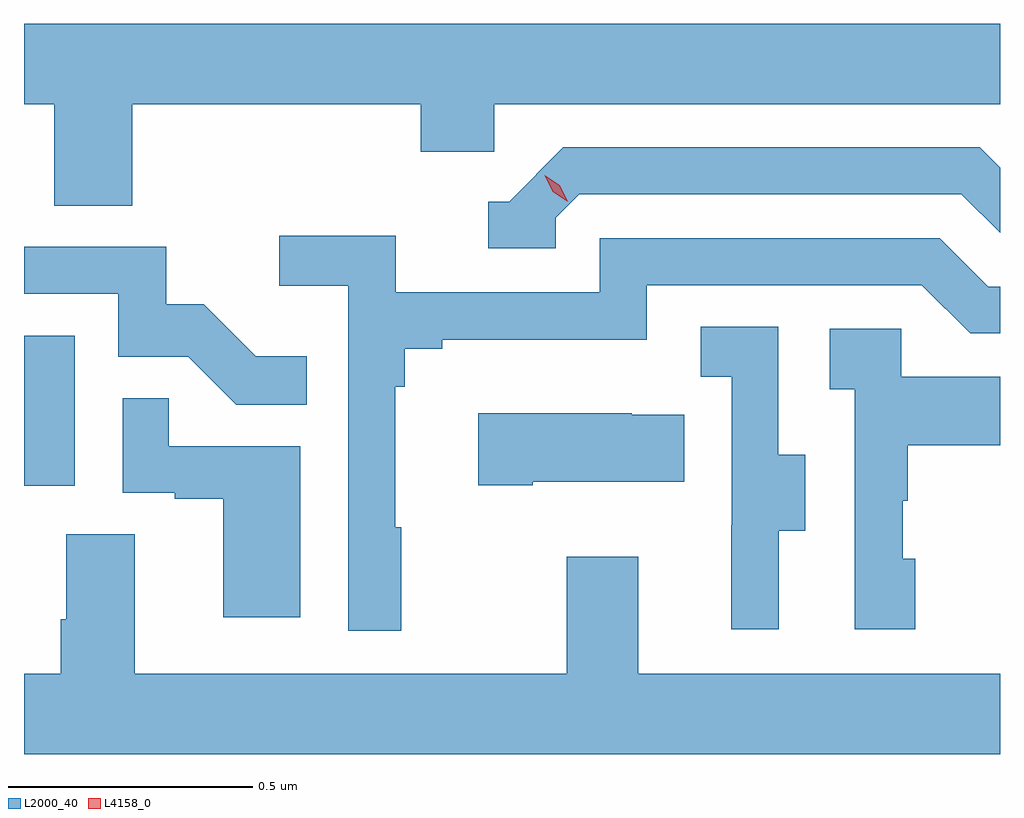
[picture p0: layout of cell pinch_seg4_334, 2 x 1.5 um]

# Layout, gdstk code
import gdstk
lib = gdstk.Library(unit=1e-6, precision=1e-09)
def R(c, l, rs):  # rectangles x0, y0, x1, y1
    for r in rs: c.add(gdstk.rectangle(r[:2], r[2:], *l))
def P(c, l, *ps):  # polygons
    for p in ps: c.add(gdstk.Polygon(p, *l))
L2000_40 = (2000, 40)
L4158_0 = (4158, 0)

pinch_seg4_334 = lib.new_cell('pinch_seg4_334')
R(pinch_seg4_334, L2000_40, [(992.774,806.694,992.878,807.001)])
P(pinch_seg4_334, L2000_40, [(992.996,807.476),(993.587,807.476),(993.587,807.378),(993.738,807.378),(993.738,807.476),(994.774,807.476),(994.774,807.64),(992.774,807.64),(992.774,807.476),(992.836,807.476),(992.836,807.268),(992.996,807.268)],
  [(993.864,807.243),(993.912,807.291),(994.695,807.291),(994.774,807.212),(994.774,807.345),(994.732,807.387),(993.879,807.387),(993.768,807.276),(993.725,807.276),(993.725,807.18),(993.864,807.18)],
  [(993.547,806.609),(993.535,806.609),(993.535,806.897),(993.554,806.897),(993.554,806.974),(993.631,806.974),(993.631,806.993),(994.05,806.993),(994.05,807.105),(994.614,807.105),(994.713,807.006),(994.774,807.006),(994.774,807.102),(994.75,807.102),(994.651,807.201),(993.954,807.201),(993.954,807.09),(993.536,807.09),(993.536,807.206),(993.297,807.206),(993.297,807.104),(993.438,807.104),(993.438,806.397),(993.547,806.397)],
  [(993.353,806.959),(993.249,806.959),(993.142,807.066),(993.066,807.066),(993.066,807.183),(992.774,807.183),(992.774,807.087),(992.967,807.087),(992.967,806.958),(993.111,806.958),(993.209,806.86),(993.353,806.86)],
  [(994.321,806.602),(994.375,806.602),(994.375,806.757),(994.32,806.757),(994.32,807.02),(994.161,807.02),(994.161,806.917),(994.224,806.917),(994.224,806.613),(994.223,806.613),(994.223,806.4),(994.321,806.4)],
  [(994.6,806.544),(994.575,806.544),(994.575,806.663),(994.585,806.663),(994.585,806.777),(994.774,806.777),(994.774,806.917),(994.572,806.917),(994.572,807.015),(994.425,807.015),(994.425,806.891),(994.476,806.891),(994.476,806.4),(994.6,806.4)],
  [(993.34,806.775),(993.071,806.775),(993.071,806.873),(992.976,806.873),(992.976,806.679),(993.083,806.679),(993.083,806.667),(993.182,806.667),(993.182,806.424),(993.34,806.424)],
  [(993.817,806.702),(994.127,806.702),(994.127,806.839),(994.019,806.839),(994.019,806.842),(993.705,806.842),(993.705,806.695),(993.817,806.695)],
  [(994.774,806.308),(994.033,806.308),(994.033,806.548),(993.886,806.548),(993.886,806.308),(993.001,806.308),(993.001,806.594),(992.861,806.594),(992.861,806.42),(992.849,806.42),(992.849,806.308),(992.774,806.308),(992.774,806.144),(994.774,806.144)])
P(pinch_seg4_334, L4158_0, [(993.887,807.277),(993.857,807.296),(993.841,807.329),(993.841,807.33),(993.841,807.33),(993.872,807.31),(993.888,807.277),(993.888,807.277)])

lib.write_gds('pinch_seg4_334.gds')
